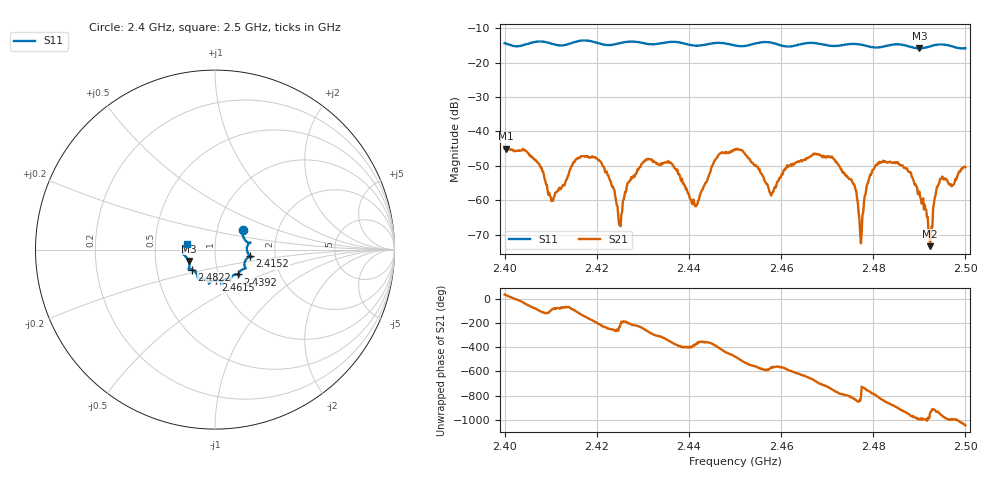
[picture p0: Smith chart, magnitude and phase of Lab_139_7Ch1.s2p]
# Hz S RI R 50
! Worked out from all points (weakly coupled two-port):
!   601 points, 2.4 GHz to 2.5 GHz, reference 50 ohm
!   highest |S21| = -44.97 dB at 2.4003 GHz (marker M1); lowest = -73.3 dB at 2.4923 GHz (marker M2)
!   lowest |S11| = -15.9 dB at 2.49 GHz (marker M3), VSWR 1.38, Z = 36.9 - j4.83 ohm
!   |S11| at or under -10 dB: start of sweep to end of sweep
!   S12 and S22 are empty: the file has one direction only
!   S11 on the Smith chart (normalised r, x): 2.4 GHz: 1.33, +0.31; 2.4152 GHz: 1.48, -0.11; 2.4392 GHz: 1.23, -0.35; 2.4615 GHz: 0.95, -0.34; 2.4822 GHz: 0.76, -0.17; 2.5 GHz: 0.73, +0.05
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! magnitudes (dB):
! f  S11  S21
! 2.4 GHz  -14.4  -45.0
! 2.4003 GHz  -14.5  -45.0
! 2.4103 GHz  -14.6  -60.0
! 2.4152 GHz  -14.1  -48.9
! 2.4167 GHz  -13.6  -47.2
! 2.421 GHz  -14.6  -49.1
! 2.425 GHz  -14.4  -67.0
! 2.4333 GHz  -14.5  -49.6
! 2.4392 GHz  -14.5  -55.7
! 2.4417 GHz  -15.1  -61.4
! 2.45 GHz  -15.0  -45.1
! 2.4578 GHz  -14.2  -58.6
! 2.4615 GHz  -15.3  -50.3
! 2.4667 GHz  -14.3  -47.0
! 2.4755 GHz  -14.6  -54.8
! 2.4773 GHz  -14.8  -72.5
! 2.4822 GHz  -15.4  -48.5
! 2.4833 GHz  -15.0  -49.0
! 2.49 GHz  -15.9  -57.4
! 2.4923 GHz  -15.3  -73.3
! 2.4945 GHz  -14.7  -53.8
! 2.5 GHz  -15.8  -50.4
